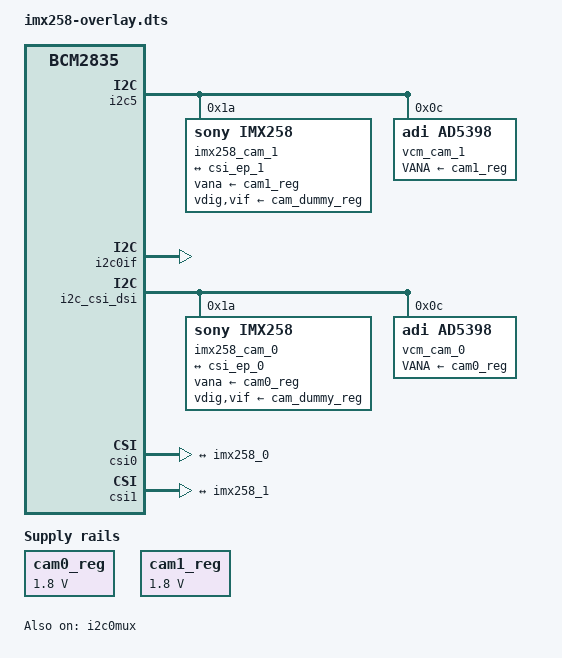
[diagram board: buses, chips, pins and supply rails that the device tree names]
// SPDX-License-Identifier: GPL-2.0-only
// Definitions for IMX258 camera module on VC I2C bus
/dts-v1/;
/plugin/;

#include <dt-bindings/gpio/gpio.h>

/{
	compatible = "brcm,bcm2835";

	

	clk_frag_0: fragment@30 {
		target = <&cam0_clk>;
		cam_clk_0: __overlay__ {
			clock-frequency = <24000000>;
			status = "okay";
		};
	};

	clk_frag_1: fragment@31 {
		target = <&cam1_clk>;
		cam_clk_1: __overlay__ {
			clock-frequency = <24000000>;
			status = "okay";
		};
	};	

	fragment@1 {
		target = <&i2c5>;
		__overlay__ {
			status = "okay";
			brcm,pins = <10 11>;
		};
	};	

	fragment@3 {
		target = <&i2c0if>;
		__overlay__ {
			status = "okay";
		};
	};

	fragment@4 { 
		target = <&i2c0mux>;
		__overlay__ {
			status = "okay";
		};
	};

	reg_frag_0: fragment@6 {
		target = <&cam0_reg>;
		cam_reg_0: __overlay__ {
			regulator-name = "imx258_vana";
			startup-delay-us = <300000>;
			regulator-min-microvolt = <1800000>;
			regulator-max-microvolt = <1800000>;
		};
	};

	reg_frag_1: fragment@7 {
		target = <&cam1_reg>;
		cam_reg_1: __overlay__ {
			regulator-name = "imx258_vana";
			startup-delay-us = <300000>;
			regulator-min-microvolt = <1800000>;
			regulator-max-microvolt = <1800000>;
		};
	};

	
	

	cam_left: fragment@100 {
		target = <&i2c_csi_dsi>;
		__overlay__ {
			#address-cells = <1>;
			#size-cells = <0>;
			status = "okay";

			imx258_cam_0: imx258@10 {
				compatible = "sony,imx258";
				reg = <0x1A>;
				status = "okay";

				clocks = <&cam0_clk>;
				clock-names = "xclk";

				vana-supply = <&cam0_reg>;	/* 2.8v */
				vdig-supply = <&cam_dummy_reg>;	/* 1.05v */
				vif-supply = <&cam_dummy_reg>;	/* 1.8v */

				rotation = <0>;
				orientation = <2>;

				lens-focus = <&vcm_cam_0>;

				port {
					imx258_0: endpoint {
						remote-endpoint = <&csi_ep_0>;
						clock-lanes = <0>;
						clock-noncontinuous;
						link-frequencies =
							/bits/ 64 <633600000
								320000000>;
					};
				};
			};

			vcm_cam_0: ad5398@c {
				compatible = "adi,ad5398";
				reg = <0x0c>;
				status = "okay";
				VANA-supply = <&cam0_reg>;
			};
		};
	};


	cam_right: fragment@110 {
		target = <&i2c5>;
		__overlay__ {
			#address-cells = <1>;
			#size-cells = <0>;
			status = "okay";

			imx258_cam_1: imx258@5 {
				compatible = "sony,imx258";
				reg = <0x1A>;
				status = "okay";

				clocks = <&cam1_clk>;
				clock-names = "xclk";

				vana-supply = <&cam1_reg>;	/* 2.8v */
				vdig-supply = <&cam_dummy_reg>;	/* 1.05v */
				vif-supply = <&cam_dummy_reg>;	/* 1.8v */

				rotation = <0>;
				orientation = <2>;

				lens-focus = <&vcm_cam_1>;
				port {
					imx258_1: endpoint {
						remote-endpoint = <&csi_ep_1>;
						clock-lanes = <0>;
						clock-noncontinuous;
						link-frequencies =
							/bits/ 64 <633600000
								320000000>;
					};
				};
			};

			vcm_cam_1: ad5398@c {
				compatible = "adi,ad5398";
				reg = <0x0c>;
				status = "okay";
				VANA-supply = <&cam1_reg>;
			};
		};
	};

	
	csi_0_frag: fragment@101 {
		target = <&csi0>;
		csi_0: __overlay__ {
			status = "okay";
			brcm,media-controller;

			port {
				csi_ep_0: endpoint {
					remote-endpoint = <&imx258_0>;
					clock-lanes = <0>;
					clock-noncontinuous;
				};
			};
		};
	};


	csi_1_frag: fragment@111 {
		target = <&csi1>;
		csi_1: __overlay__ {
			status = "okay";
			brcm,media-controller;

			port {
				csi_ep_1: endpoint {
					remote-endpoint = <&imx258_1>;
					clock-lanes = <0>;
					clock-noncontinuous;
				};
			};
		};
	};


	fragment@102 {
		target = <&imx258_0>;
		__overlay__ {
			data-lanes = <1 2>;
			link-frequencies = /bits/ 64 <633600000
						      320000000>;
		};
	};
	
	fragment@112 {
		target = <&imx258_1>;
		__overlay__ {
			data-lanes = <1 2 3 4>;
			link-frequencies = /bits/ 64 <633600000
						      320000000>;
		};
	};

	fragment@113 {
		target = <&imx258_1>;
		__dormant__ {
			data-lanes = <1 2 3 4>;
			link-frequencies =
				/bits/ 64 <633600000 320000000>;
		};
	};

	fragment@104 {
		target = <&csi_ep_0>;
		__overlay__ {
			data-lanes = <1 2>;
		};
	};

	fragment@114 {
		target = <&csi_ep_1>;
		__overlay__ {
			data-lanes = <1 2 3 4>;
		};
	};

	fragment@115 {
		target = <&csi_ep_1>;
		__dormant__ {
			data-lanes = <1 2 3 4>;
		};
	};



	__overrides__ {
		rotation = <&imx258_cam_1>,"rotation:0",<&imx258_cam_0>,"rotation:0";
		orientation = <&imx258_cam_1>,"orientation:0",<&imx258_cam_0>,"orientation:0";
	};
};
